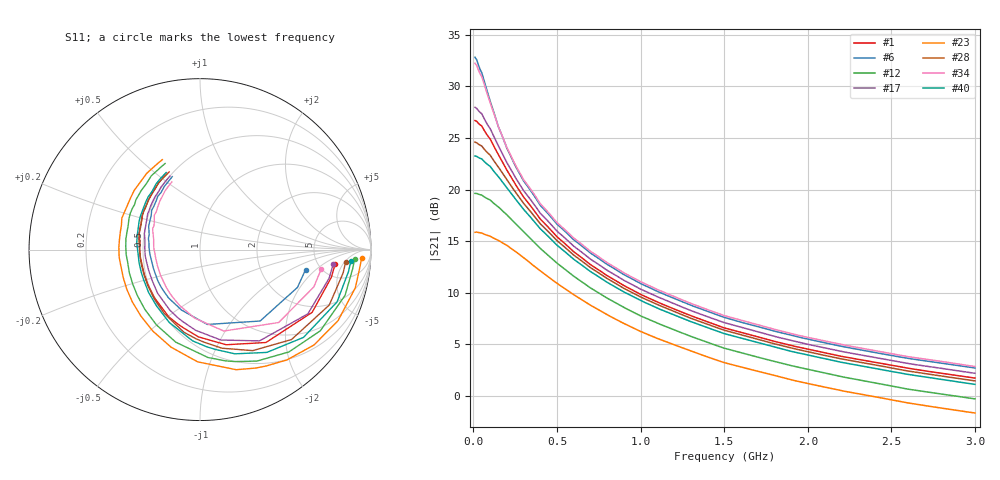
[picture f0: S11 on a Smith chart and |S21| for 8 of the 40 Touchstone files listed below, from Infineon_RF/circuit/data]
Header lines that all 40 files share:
! Infineon Technologies  Discrete & RF Semiconductors
! BFR93A
! Common Emitter S-Parameters:  Nov 2015
# GHz  S  MA  R  50
!  f  S11  S21  S12  S22
! GHz  MAG  ANG  MAG  ANG  MAG  ANG  MAG  ANG
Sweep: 10 MHz to 3 GHz
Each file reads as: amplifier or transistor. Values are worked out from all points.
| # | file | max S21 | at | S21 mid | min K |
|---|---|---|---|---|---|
| 1 | BFR93A_VCE_6.0V_IC_8.0mA.s2p | 26.7 dB | 10 MHz | 8.3 dB at 1.22 GHz | 0.10 |
| 2 | BFR93A_VCE_6.0V_IC_10mA.s2p | 28.1 dB | 10 MHz | 8.6 dB at 1.22 GHz | 0.11 |
| 3 | BFR93A_VCE_6.0V_IC_12mA.s2p | 29.2 dB | 10 MHz | 8.8 dB at 1.22 GHz | 0.13 |
| 4 | BFR93A_VCE_6.0V_IC_15mA.s2p | 30.4 dB | 10 MHz | 9.1 dB at 1.22 GHz | 0.14 |
| 5 | BFR93A_VCE_6.0V_IC_20mA.s2p | 31.8 dB | 10 MHz | 9.3 dB at 1.22 GHz | 0.18 |
| 6 | BFR93A_VCE_6.0V_IC_25mA.s2p | 32.8 dB | 10 MHz | 9.3 dB at 1.22 GHz | 0.21 |
| 7 | BFR93A_VCE_6.0V_IC_30mA.s2p | 33.5 dB | 10 MHz | 9.4 dB at 1.22 GHz | 0.24 |
| 8 | BFR93A_VCE_6.0V_IC_40mA.s2p | 34.3 dB | 10 MHz | 9.3 dB at 1.22 GHz | 0.27 |
| 9 | BFR93A_VCE_6.0V_IC_50mA.s2p | 34.8 dB | 10 MHz | 9.0 dB at 1.22 GHz | 0.31 |
| 10 | BFR93A_VCE_8.0V_IC_2.0mA.s2p | 16.1 dB | 10 MHz | 4.8 dB at 1.22 GHz | 0.02 |
| 11 | BFR93A_VCE_8.0V_IC_2.5mA.s2p | 18.2 dB | 10 MHz | 5.7 dB at 1.22 GHz | 0.04 |
| 12 | BFR93A_VCE_8.0V_IC_3.0mA.s2p | 19.6 dB | 10 MHz | 6.3 dB at 1.22 GHz | 0.04 |
| 13 | BFR93A_VCE_8.0V_IC_4.0mA.s2p | 21.8 dB | 10 MHz | 7.1 dB at 1.22 GHz | 0.07 |
| 14 | BFR93A_VCE_8.0V_IC_5.0mA.s2p | 23.4 dB | 10 MHz | 7.6 dB at 1.22 GHz | 0.07 |
| 15 | BFR93A_VCE_8.0V_IC_6.0mA.s2p | 24.7 dB | 10 MHz | 8.0 dB at 1.22 GHz | 0.06 |
| 16 | BFR93A_VCE_8.0V_IC_8.0mA.s2p | 26.6 dB | 10 MHz | 8.5 dB at 1.22 GHz | 0.11 |
| 17 | BFR93A_VCE_8.0V_IC_10mA.s2p | 28.0 dB | 10 MHz | 8.8 dB at 1.22 GHz | 0.12 |
| 18 | BFR93A_VCE_8.0V_IC_12mA.s2p | 29.0 dB | 10 MHz | 9.0 dB at 1.22 GHz | 0.13 |
| 19 | BFR93A_VCE_8.0V_IC_15mA.s2p | 30.2 dB | 10 MHz | 9.2 dB at 1.22 GHz | 0.14 |
| 20 | BFR93A_VCE_8.0V_IC_20mA.s2p | 31.6 dB | 10 MHz | 9.4 dB at 1.22 GHz | 0.18 |
| 21 | BFR93A_VCE_8.0V_IC_25mA.s2p | 32.6 dB | 10 MHz | 9.5 dB at 1.22 GHz | 0.21 |
| 22 | BFR93A_VCE_8.0V_IC_30mA.s2p | 33.2 dB | 10 MHz | 9.5 dB at 1.22 GHz | 0.24 |
| 23 | BFR93A_VCE_10.V_IC_2.0mA.s2p | 15.9 dB | 20 MHz | 4.9 dB at 1.22 GHz | 0.04 |
| 24 | BFR93A_VCE_10.V_IC_2.5mA.s2p | 18.2 dB | 10 MHz | 5.8 dB at 1.22 GHz | 0.05 |
| 25 | BFR93A_VCE_10.V_IC_3.0mA.s2p | 19.6 dB | 10 MHz | 6.4 dB at 1.22 GHz | 0.05 |
| 26 | BFR93A_VCE_10.V_IC_4.0mA.s2p | 21.7 dB | 10 MHz | 7.2 dB at 1.22 GHz | 0.07 |
| 27 | BFR93A_VCE_10.V_IC_5.0mA.s2p | 23.4 dB | 10 MHz | 7.7 dB at 1.22 GHz | 0.08 |
| 28 | BFR93A_VCE_10.V_IC_6.0mA.s2p | 24.6 dB | 10 MHz | 8.1 dB at 1.22 GHz | 0.09 |
| 29 | BFR93A_VCE_10.V_IC_8.0mA.s2p | 26.5 dB | 10 MHz | 8.6 dB at 1.22 GHz | 0.13 |
| 30 | BFR93A_VCE_10.V_IC_10mA.s2p | 27.8 dB | 10 MHz | 8.9 dB at 1.22 GHz | 0.14 |
| 31 | BFR93A_VCE_10.V_IC_12mA.s2p | 28.9 dB | 10 MHz | 9.1 dB at 1.22 GHz | 0.17 |
| 32 | BFR93A_VCE_10.V_IC_15mA.s2p | 30.1 dB | 10 MHz | 9.3 dB at 1.22 GHz | 0.16 |
| 33 | BFR93A_VCE_10.V_IC_20mA.s2p | 31.4 dB | 10 MHz | 9.5 dB at 1.22 GHz | 0.19 |
| 34 | BFR93A_VCE_10.V_IC_25mA.s2p | 32.2 dB | 10 MHz | 9.5 dB at 1.22 GHz | 0.22 |
| 35 | BFR93A_VCE_10.V_IC_30mA.s2p | 32.9 dB | 10 MHz | 9.5 dB at 1.22 GHz | 0.23 |
| 36 | BFR93A_VCE_12.V_IC_2.0mA.s2p | 15.7 dB | 20 MHz | 4.8 dB at 1.22 GHz | 0.02 |
| 37 | BFR93A_VCE_12.V_IC_2.5mA.s2p | 18.2 dB | 10 MHz | 5.8 dB at 1.22 GHz | 0.06 |
| 38 | BFR93A_VCE_12.V_IC_3.0mA.s2p | 19.6 dB | 10 MHz | 6.4 dB at 1.22 GHz | 0.07 |
| 39 | BFR93A_VCE_12.V_IC_4.0mA.s2p | 21.7 dB | 10 MHz | 7.2 dB at 1.22 GHz | 0.09 |
| 40 | BFR93A_VCE_12.V_IC_5.0mA.s2p | 23.3 dB | 10 MHz | 7.7 dB at 1.22 GHz | 0.10 |

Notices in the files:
TP2/Simulaciones/Example_wrk/Infineon_RF/circuit/data/BFR93A_VCE_10.V_IC_10mA.s2p:
(c) 2015  Infineon Technologies AG, Munich
